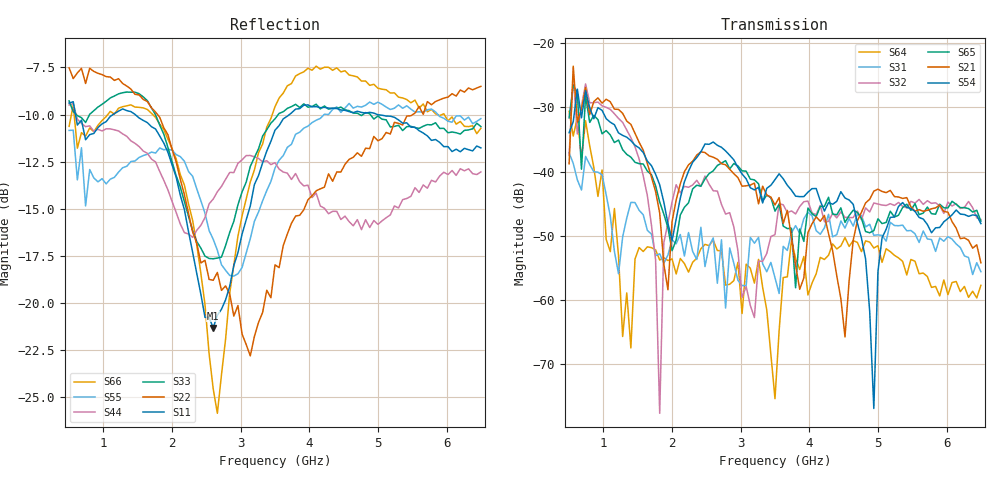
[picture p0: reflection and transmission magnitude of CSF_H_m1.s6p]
!Keysight Technologies,M9804A,MY58100912,A.14.10.03
!Date: Thursday, April 27, 2023 10:28:33
!Correction: S11(C  6-Port  )
!S12(C  6-Port  )
!S13(C  6-Port  )
!S14(C  6-Port  )
!S15(C  6-Port  )
!S16(C  6-Port  )
!S21(C  6-Port  )
!S22(C  6-Port  )
!S23(C  6-Port  )
!S24(C  6-Port  )
!S25(C  6-Port  )
!S26(C  6-Port  )
!S31(C  6-Port  )
!S32(C  6-Port  )
!S33(C  6-Port  )
!S34(C  6-Port  )
!S35(C  6-Port  )
!S36(C  6-Port  )
!S41(C  6-Port  )
!S42(C  6-Port  )
!S43(C  6-Port  )
!S44(C  6-Port  )
!S45(C  6-Port  )
!S46(C  6-Port  )
!S51(C  6-Port  )
!S52(C  6-Port  )
!S53(C  6-Port  )
!S54(C  6-Port  )
!S55(C  6-Port  )
!S56(C  6-Port  )
!S61(C  6-Port  )
!S62(C  6-Port  )
!S63(C  6-Port  )
!S64(C  6-Port  )
!S65(C  6-Port  )
!S66(C  6-Port  )
!S6P File: Measurement: :
# Hz S  RI  R 50
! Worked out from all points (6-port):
!   101 points, 500 MHz to 6.5 GHz, reference 50 ohm
!   strongest paths, dB at 500 MHz, 2 GHz, 3.5 GHz, 5 GHz, 6.5 GHz:
!     S54: -34.0, -50.7, -41.3, -55.6, -48.1
!     S21: -38.8, -47.8, -45.2, -42.7, -54.2
!     S65: -31.6, -52.3, -46.1, -47.4, -47.7
!     S32: -37.4, -44.7, -49.8, -45.0, -47.5
!     S31: -37.1, -50.6, -56.5, -49.8, -55.6
!     S64: -30.6, -53.6, -75.3, -51.5, -57.7
!   lowest |S11| = -21.3 dB at 2.6 GHz (marker M1), VSWR 1.19, Z = 42.4 + j2.3 ohm
!   |S11| at or under -10 dB: 592.8 MHz to 1.141 GHz (548 MHz wide, 63.2 % of centre); 1.462 GHz to 3.711 GHz (2.249 GHz wide, 86.9 % of centre); 4.991 GHz to end of sweep
